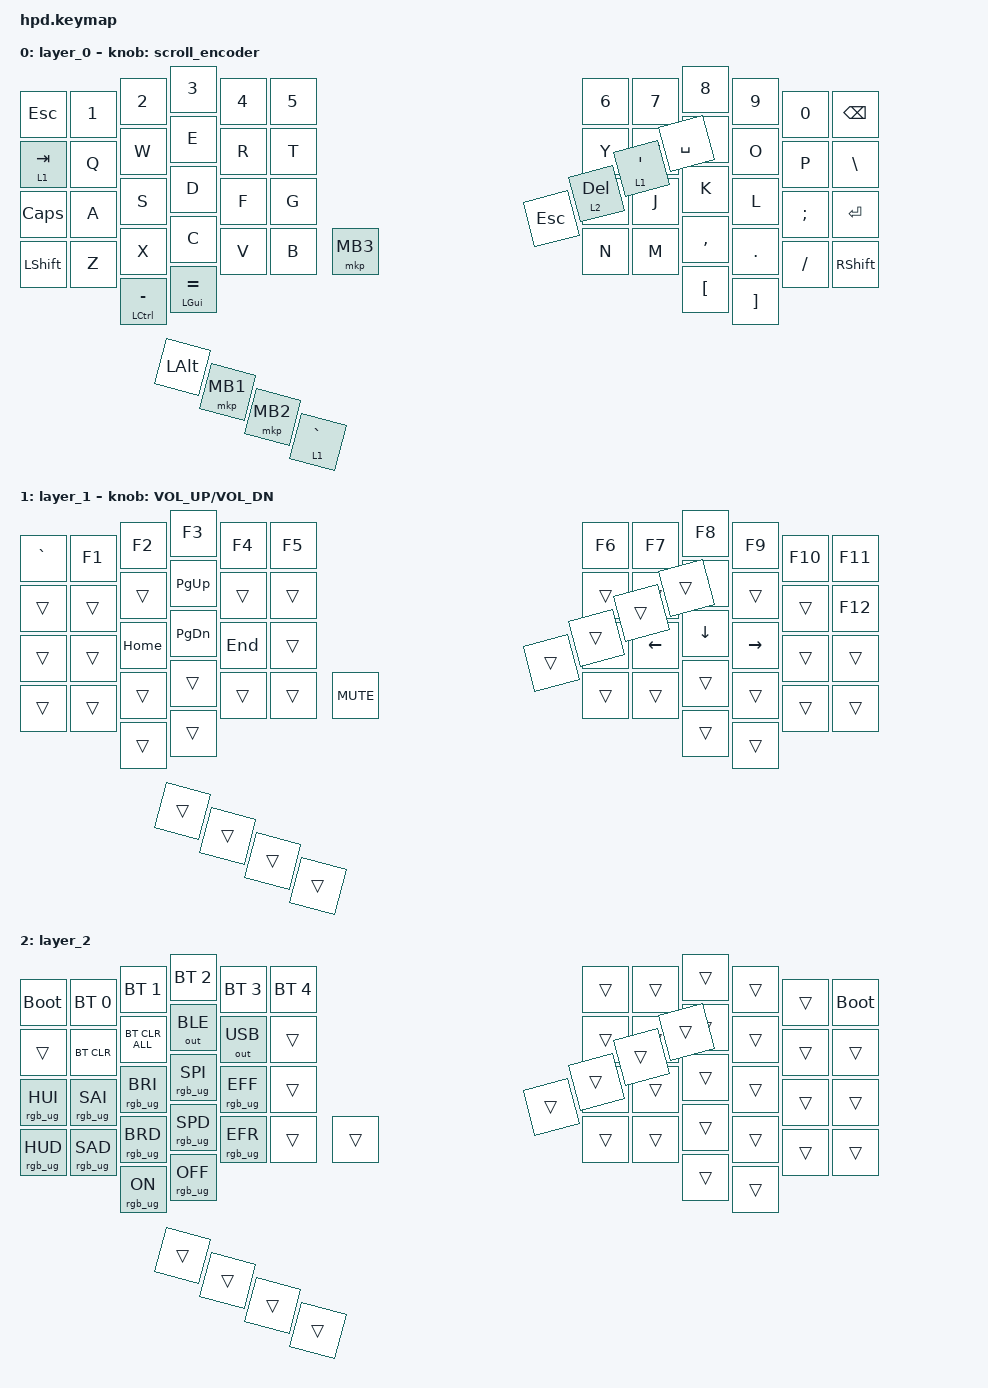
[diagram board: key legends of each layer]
#define ZMK_POINTING_DEFAULT_MOVE_VAL 1200  // 600
#define ZMK_POINTING_DEFAULT_SCRL_VAL 25    // 10

#include <input/processors.dtsi>
#include <zephyr/dt-bindings/input/input-event-codes.h>
#include <dt-bindings/zmk/mouse.h>
#include <behaviors.dtsi>
#include <dt-bindings/zmk/bt.h>
#include <dt-bindings/zmk/keys.h>
#include <dt-bindings/zmk/outputs.h>
#include <dt-bindings/zmk/pointing.h>
#include <dt-bindings/zmk/rgb.h>

&mmv_input_listener { input-processors = <&zip_xy_scaler 2 1>; };

&msc_input_listener { input-processors = <&zip_scroll_scaler 2 1>; };

&msc {
    acceleration-exponent = <1>;      // 0
    time-to-max-speed-ms = <100>;       // 300
    delay-ms = <0>;                   // 0
};

&mmv {
    time-to-max-speed-ms = <500>;
    acceleration-exponent = <1>;
    trigger-period-ms = <16>;
};

&lt {
    tapping-term-ms = <200>;
    flavor = "balanced";
    quick-tap-ms = <150>;
};

/ {
    scroll_encoder: scroll_encoder {
        compatible = "zmk,behavior-sensor-rotate";
        #sensor-binding-cells = <0>;
        bindings = <&msc SCRL_DOWN>, <&msc SCRL_UP>;

        tap-ms = <100>;
    };

    macros {
        To1_macro: To1_macro {
            compatible = "zmk,behavior-macro";
            label = "To1_macro";
            #binding-cells = <0>;
            bindings = <&rgb_ug RGB_EFF &rgb_ug RGB_COLOR_HSB(128,100,50) &to 1>;
        };

        To0_macro: To0_macro {
            compatible = "zmk,behavior-macro";
            label = "To0_macro";
            #binding-cells = <0>;
            bindings = <&rgb_ug RGB_EFR &to 0>;
        };

        To2_macro: To2_macro {
            compatible = "zmk,behavior-macro";
            label = "To2_macro";
            #binding-cells = <0>;
            bindings =
                <&to 0>,
                <&macro_wait_time 30>,
                <&rgb_ug RGB_COLOR_HSB(250,100,50)>;
        };
    };

    behaviors {
    };

    keymap {
        compatible = "zmk,keymap";

        layer_0 {
            bindings = <
&kp ESC    &kp N1       &kp N2           &kp N3          &kp N4    &kp N5    &kp N6     &kp N7     &kp N8     &kp N9    &kp N0    &kp BSPC
&lt 1 TAB  &kp Q        &kp W            &kp E           &kp R     &kp T     &kp Y      &kp U      &kp I      &kp O     &kp P     &kp BSLH
&kp CAPS   &kp A        &kp S            &kp D           &kp F     &kp G     &kp H      &kp J      &kp K      &kp L     &kp SEMI  &kp ENTER
&kp LSHFT  &kp Z        &kp X            &kp C           &kp V     &kp B     &kp N      &kp M      &kp COMMA  &kp DOT   &kp FSLH  &kp RSHFT
&mkp MB2   &lt 1 GRAVE  &mt LCTRL MINUS  &mt LGUI EQUAL  &kp LALT  &mkp MB1  &lt 1 SQT  &kp SPACE  &kp LBKT   &kp RBKT  &kp ESC   &lt 2 DEL
                                                                   &mkp MB3
            >;

            sensor-bindings = <&scroll_encoder>;
        };

        layer_1 {
            bindings = <
&kp GRAVE  &kp F1  &kp F2    &kp F3     &kp F4   &kp F5      &kp F6  &kp F7    &kp F8    &kp F9     &kp F10  &kp F11
&trans     &trans  &trans    &kp PG_UP  &trans   &trans      &trans  &trans    &kp UP    &trans     &trans   &kp F12
&trans     &trans  &kp HOME  &kp PG_DN  &kp END  &trans      &trans  &kp LEFT  &kp DOWN  &kp RIGHT  &trans   &trans
&trans     &trans  &trans    &trans     &trans   &trans      &trans  &trans    &trans    &trans     &trans   &trans
&trans     &trans  &trans    &trans     &trans   &trans      &trans  &trans    &trans    &trans     &trans   &trans
                                                 &kp C_MUTE
            >;

            sensor-bindings = <&inc_dec_kp C_VOL_UP C_VOL_DN>;
        };

        layer_2 {
            bindings = <
&bootloader      &bt BT_SEL 0     &bt BT_SEL 1     &bt BT_SEL 2     &bt BT_SEL 3     &bt BT_SEL 4  &trans  &trans  &trans  &trans  &trans  &bootloader
&trans           &bt BT_CLR       &bt BT_CLR_ALL   &out OUT_BLE     &out OUT_USB     &trans        &trans  &trans  &trans  &trans  &trans  &trans
&rgb_ug RGB_HUI  &rgb_ug RGB_SAI  &rgb_ug RGB_BRI  &rgb_ug RGB_SPI  &rgb_ug RGB_EFF  &trans        &trans  &trans  &trans  &trans  &trans  &trans
&rgb_ug RGB_HUD  &rgb_ug RGB_SAD  &rgb_ug RGB_BRD  &rgb_ug RGB_SPD  &rgb_ug RGB_EFR  &trans        &trans  &trans  &trans  &trans  &trans  &trans
&trans           &trans           &rgb_ug RGB_ON   &rgb_ug RGB_OFF  &trans           &trans        &trans  &trans  &trans  &trans  &trans  &trans
                                                                                     &trans
            >;
        };
    };
};
